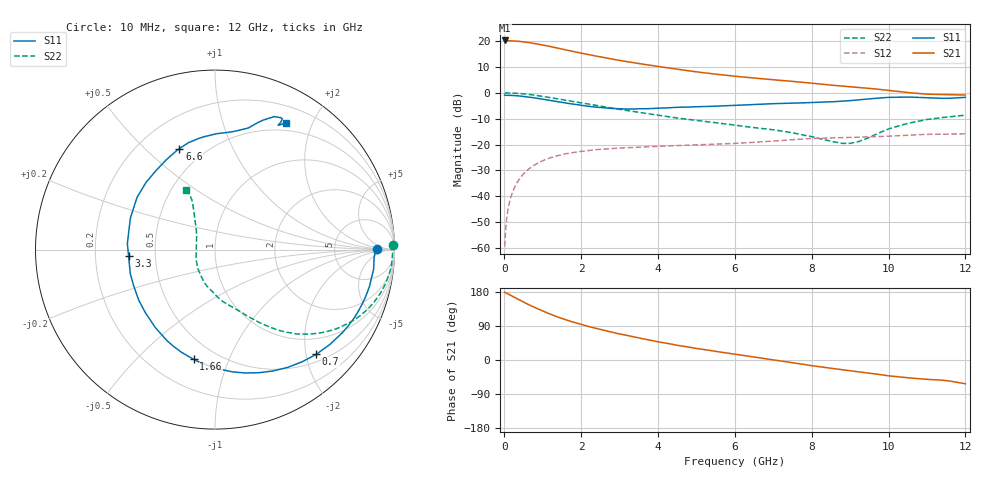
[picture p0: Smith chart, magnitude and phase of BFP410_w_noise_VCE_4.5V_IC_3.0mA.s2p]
! Infineon Technologies  Discrete & RF Semiconductors
! BFP410
! VCE =  4.5 V,  IC =  3.0 mA
! Common Emitter S-Parameters:  Nov 2015
# GHz  S  MA  R  50
!  f  S11  S21  S12  S22
! GHz  MAG  ANG  MAG  ANG  MAG  ANG  MAG  ANG
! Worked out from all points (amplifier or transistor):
!   243 points, 10 MHz to 12 GHz, reference 50 ohm
!   highest |S21| = 20.1 dB at 10 MHz (marker M1)
!   |S21| within 3 dB of that: start of sweep to 1.402 GHz
!   unconditionally stable (mu >= 1): 3.651 GHz to end of sweep
!   at 240 MHz: K = 0.13, MSG = 28.7 dB, |S12| = -37.5 dB
!   at 1.84 GHz: K = 0.47, MSG = 19.3 dB, |S12| = -23.0 dB
!   at 12 GHz: K = 1.10, MAG = 5.6 dB, |S12| = -15.9 dB
!   lowest NFmin = 0.87 dB at 900 MHz
!   S11 on the Smith chart (normalised r, x): 10 MHz: 19, +1; 700 MHz: 0.64, -2.20; 1.66 GHz: 0.38, -0.75; 3.3 GHz: 0.35, -0.03; 6.6 GHz: 0.37, +0.64; 12 GHz: 0.39, +1.64
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0.01  0.9022 0.3  10.14 179.0  0.0011 2.6  0.9943 1.4
0.08  0.8893 -5.2  10.02 175.3  0.0046 75.2  0.9892 -2.2
0.185  0.8851 -12.2  9.985 169.8  0.0104 78.5  0.985 -5.8
0.34  0.8704 -22.5  9.829 161.5  0.0188 75.7  0.9709 -10.7
0.48  0.8503 -31.7  9.59 154.1  0.0261 71.9  0.952 -14.9
0.7  0.8116 -46.0  9.114 143.0  0.0366 65.5  0.9129 -21.4
0.9  0.7713 -58.3  8.579 133.6  0.0451 59.9  0.8707 -26.6
1.1  0.7285 -70.3  8.026 125.0  0.0524 54.8  0.8249 -31.4
1.4  0.6681 -87.4  7.188 113.1  0.0614 47.8  0.7567 -37.6
1.66  0.6222 -101.0  6.542 104.2  0.0676 42.7  0.7022 -42.0
2.02  0.57 -118.7  5.743 93.4  0.0743 36.9  0.6345 -47.2
2.3  0.5344 -132.2  5.225 85.6  0.0784 32.9  0.5844 -50.8
2.62  0.5078 -147.4  4.707 77.4  0.0821 28.9  0.5307 -54.6
3.3  0.4829 -176.0  3.847 62.6  0.0874 22.6  0.441 -61.3
4.1  0.5049 156.7  3.127 46.4  0.0929 17.5  0.3593 -69.6
5  0.5366 135.7  2.521 30.5  0.0987 12.9  0.2926 -81.4
6.1  0.5733 116.8  2.041 13.9  0.1062 8.9  0.2309 -94.5
6.6  0.5963 109.4  1.884 6.4  0.1116 7.2  0.208 -102.6
8.2  0.6516 86.0  1.474 -17.7  0.1323 -2.6  0.1302 -140.0
9  0.7023 74.7  1.3 -28.4  0.1373 -7.9  0.1053 171.9
10.2  0.8162 64.7  1.063 -43.8  0.1475 -14.0  0.2217 121.1
12  0.8118 60.7  0.904 -62.7  0.1608 -28.2  0.3681 116.2
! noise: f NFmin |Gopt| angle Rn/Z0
0.45  0.92  0.39  6  0.24
0.9  0.87  0.38  20  0.22
1.8  1.07  0.29  53  0.19
2.4  1.11  0.25  58  0.19
5.5  2.12  0.33  -139  0.2
10  3.64  0.68  -55  1.98
